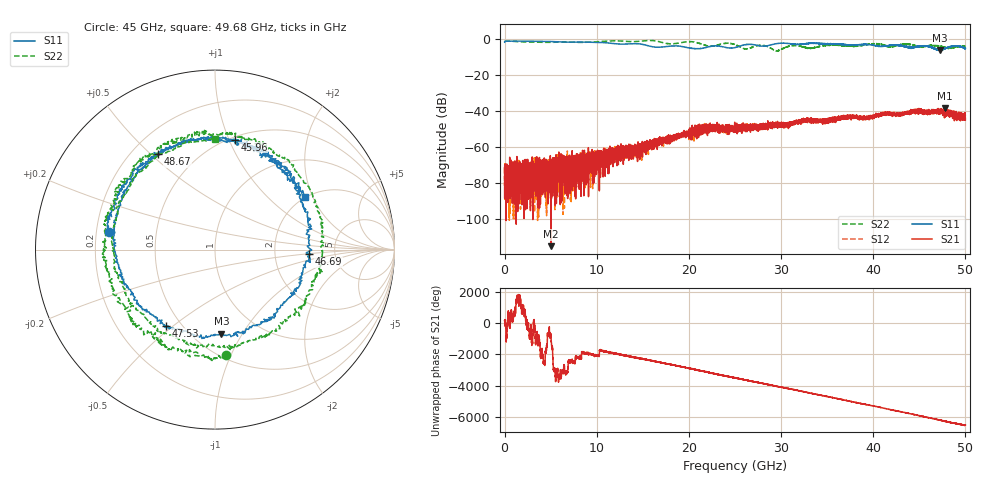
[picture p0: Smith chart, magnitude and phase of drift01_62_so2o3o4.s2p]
!Created with skrf (http://scikit-rf.org).
# Hz S RI R 50.0
!freq ReS11 ImS11 ReS21 ImS21 ReS12 ImS12 ReS22 ImS22
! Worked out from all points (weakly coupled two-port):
!   10001 points, 300 kHz to 50 GHz, reference 50 ohm
!   highest |S21| = -38.73 dB at 47.75 GHz (marker M1); lowest = -115.3 dB at 5.015 GHz (marker M2)
!   lowest |S11| = -6.6 dB at 47.28 GHz (marker M3), VSWR 2.77, Z = 33.9 - j40.8 ohm
!   |S11| at or under -10 dB: nowhere
!   |S22| runs from -6.8 to -1.0 dB; largest |S21 - S12| = 0.0037
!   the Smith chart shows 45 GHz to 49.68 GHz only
!   S11 on the Smith chart (normalised r, x): 45 GHz: 0.25, +0.08; 45.96 GHz: 0.52, +1.05; 46.69 GHz: 3.18, -0.23; 47.53 GHz: 0.41, -0.47; 48.67 GHz: 0.31, +0.53; 49.68 GHz: 1.99, +1.74
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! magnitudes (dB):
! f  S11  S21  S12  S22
! 300 kHz  -2.0  -71.8  -71.8  -1.3
! 340.3 MHz  -1.4  -79.6  -81.2  -1.4
! 5.015 GHz  -1.6  -115.3  -78.3  -2.1
! 8.335 GHz  -1.9  -76.5  -74.9  -2.1
! 16.67 GHz  -4.8  -56.3  -57.5  -1.6
! 21.93 GHz  -4.8  -49.6  -50.2  -3.9
! 25 GHz  -5.0  -50.8  -50.5  -3.4
! 26.18 GHz  -3.3  -48.5  -49.9  -5.7
! 28.07 GHz  -4.2  -49.3  -49.6  -3.8
! 29.55 GHz  -2.8  -48.0  -49.0  -6.7
! 31.29 GHz  -3.1  -46.7  -47.1  -3.9
! 33.34 GHz  -2.5  -46.1  -46.1  -5.4
! 41.67 GHz  -3.9  -42.0  -41.7  -4.4
! 45 GHz  -4.4  -39.7  -39.9  -4.6
! 45.96 GHz  -4.1  -40.5  -41.0  -4.2
! 46.69 GHz  -5.6  -41.0  -41.0  -3.6
! 47.28 GHz  -6.6  -40.9  -39.6  -4.3
! 47.53 GHz  -5.9  -40.3  -40.5  -4.6
! 47.75 GHz  -5.7  -38.7  -41.1  -4.7
! 48.67 GHz  -4.2  -41.9  -42.5  -5.0
! 49.68 GHz  -4.7  -41.8  -42.4  -4.2
! 50 GHz  -5.5  -45.1  -44.4  -4.2
